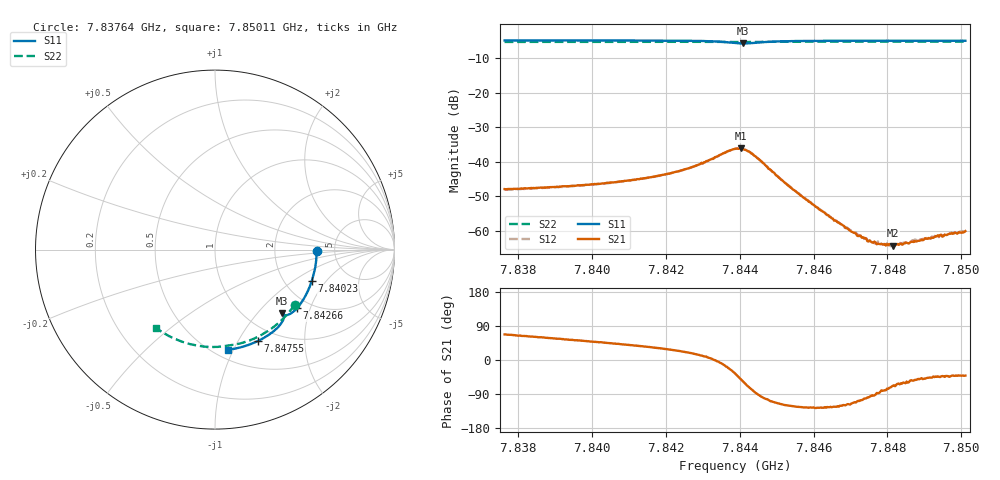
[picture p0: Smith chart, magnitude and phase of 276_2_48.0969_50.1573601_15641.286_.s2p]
#  HZ  S  RI  R  50.00
! Rohde & Schwarz Vector Network Analyzer
! Rohde-Schwarz,ZNB20-2Port,1311601062101988,3.16
! Created: UTC 12/23/2023, 4:02:17 AM
! freq[Hz]  re:S11  im:S11  re:S21  im:S21  re:S12  im:S12  re:S22  im:S22
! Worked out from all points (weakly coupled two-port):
!   401 points, 7.83764 GHz to 7.85011 GHz, reference 50 ohm
!   highest |S21| = -36.13 dB at 7.84403 GHz (marker M1); lowest = -64.2 dB at 7.84814 GHz (marker M2)
!   lowest |S11| = -5.8 dB at 7.84409 GHz (marker M3), VSWR 3.11, Z = 71.1 - j68.1 ohm
!   |S11| at or under -10 dB: nowhere
!   |S22| runs from -5.4 to -5.3 dB; largest |S21 - S12| = 0.00033
!   S11 on the Smith chart (normalised r, x): 7.83764 GHz: 3.61, -0.07; 7.84023 GHz: 2.78, -1.45; 7.84266 GHz: 1.71, -1.63; 7.84755 GHz: 0.81, -1.21; 7.85011 GHz: 0.59, -0.96
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7.837638e9  0.5664 -0.0064  0.00155 0.00373  0.00154 0.00366  0.4435 -0.3074
7.839727e9  0.5484 -0.1444  0.00293 0.00358  0.00289 0.00356  0.3456 -0.4158
7.840225e9  0.5388 -0.1766  0.00329 0.00354  0.00329 0.00348  0.318 -0.4375
7.841815e9  0.4935 -0.276  0.0054 0.0033  0.00535 0.00326  0.2219 -0.4938
7.842657e9  0.4574 -0.3258  0.00778 0.00261  0.00777 0.00266  0.1665 -0.5152
7.843437e9  0.4077 -0.3631  0.0123 -0.00107  0.0122 -0.000965  0.1133 -0.5284
7.843873e9  0.3755 -0.361  0.0126 -0.00887  0.0125 -0.00898  0.0842 -0.5324
7.844029e9  0.3722 -0.3544  0.00997 -0.012  0.00986 -0.012  0.0743 -0.5337
7.844091e9  0.3726 -0.3526  0.00844 -0.0127  0.00853 -0.0128  0.0704 -0.5342
7.844372e9  0.3817 -0.3556  0.00181 -0.0124  0.0018 -0.0125  0.0526 -0.5374
7.845276e9  0.3654 -0.4158  -0.00233 -0.0041  -0.00236 -0.00416  -0.0106 -0.5428
7.845962e9  0.3305 -0.4514  -0.00144 -0.00199  -0.00143 -0.00201  -0.059 -0.5404
7.846804e9  0.2828 -0.4857  -0.000574 -0.00105  -0.000582 -0.00105  -0.1175 -0.5314
7.847147e9  0.2625 -0.4973  -0.000343 -0.000851  -0.000368 -0.000878  -0.1409 -0.526
7.847303e9  0.2532 -0.5024  -0.000219 -0.000773  -0.000208 -0.000783  -0.1517 -0.523
7.847552e9  0.2381 -0.5099  -6.23e-05 -0.000699  -8.18e-05 -0.000711  -0.1684 -0.518
7.847833e9  0.2208 -0.5177  0.000111 -0.000643  7.81e-05 -0.000657  -0.1871 -0.5118
7.848051e9  0.2071 -0.5233  0.000186 -0.000624  0.000148 -0.000638  -0.2014 -0.5063
7.848145e9  0.2014 -0.5257  0.00023 -0.00057  0.000186 -0.000605  -0.2075 -0.5039
7.848363e9  0.1877 -0.5307  0.000315 -0.000577  0.000314 -0.000594  -0.2218 -0.498
7.849392e9  0.1215 -0.5495  0.000601 -0.000588  0.000564 -0.000591  -0.2856 -0.465
7.850109e9  0.0744 -0.5575  0.000751 -0.000659  0.000738 -0.000665  -0.3276 -0.437
